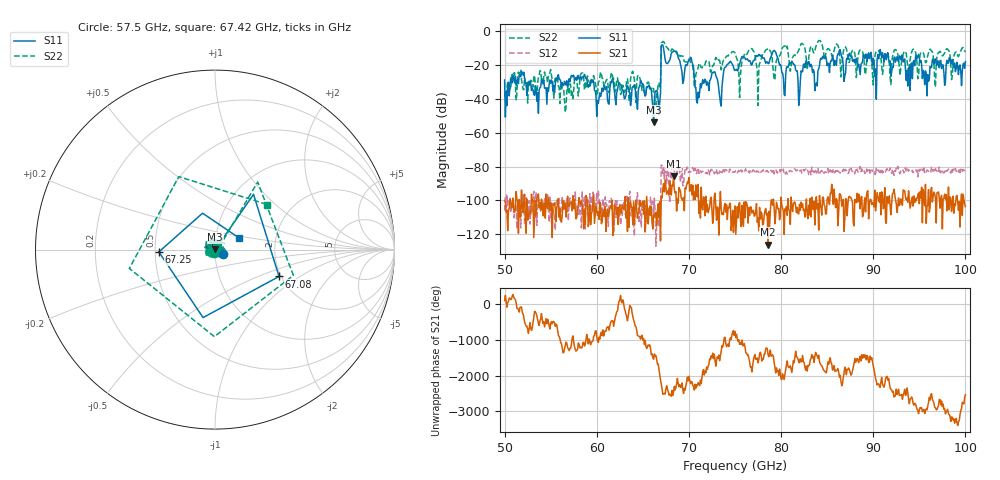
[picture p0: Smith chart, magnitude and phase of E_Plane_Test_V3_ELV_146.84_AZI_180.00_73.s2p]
! 11/26/2026 4:48:36 PM
! C:\ANRITSUVNA\TEMP\TEMP.S2P
! CHANNEL.1
! TR.MEASUREMENT
! RAW.DATA
# HZ S RI R 50.0
! FREQ.HZ  S11RE  S11IM  S21RE  S21IM  S12RE  S12IM  S22RE  S22IM
!; PortSelection: Port_12
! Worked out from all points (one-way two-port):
!   601 points, 50 GHz to 100 GHz, reference 50 ohm
!   highest |S21| = -85.69 dB at 68.33 GHz (marker M1); lowest = -126.0 dB at 78.58 GHz (marker M2)
!   lowest |S11| = -53.8 dB at 66.17 GHz (marker M3), VSWR 1.00, Z = 50.1 + j0.147 ohm
!   |S11| at or under -10 dB: start of sweep to 67 GHz; 67.25 GHz to end of sweep
!   |S22| runs from -48.1 to -5.6 dB; largest |S21 - S12| = 0.00012
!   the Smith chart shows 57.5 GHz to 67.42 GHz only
!   S11 on the Smith chart (normalised r, x): 57.5 GHz: 1.09, -0.05; 67.08 GHz: 1.95, -0.69; 67.25 GHz: 0.52, -0.01; 67.42 GHz: 1.29, +0.18
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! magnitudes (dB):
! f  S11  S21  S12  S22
! 50 GHz  -28.9  -100.3  -106.0  -35.8
! 57.5 GHz  -26.1  -104.9  -104.6  -34.6
! 58.42 GHz  -27.1  -102.8  -95.0  -24.7
! 60.17 GHz  -42.7  -106.8  -94.0  -30.4
! 66.17 GHz  -53.8  -108.5  -109.0  -34.0
! 66.67 GHz  -41.5  -102.0  -103.1  -31.6
! 67.08 GHz  -8.2  -98.5  -79.3  -6.8
! 67.25 GHz  -10.1  -90.1  -80.7  -6.2
! 67.42 GHz  -16.6  -87.7  -81.2  -8.3
! 68.33 GHz  -11.9  -85.7  -79.2  -11.4
! 70.25 GHz  -15.9  -90.7  -82.8  -18.8
! 70.92 GHz  -42.5  -97.8  -81.5  -23.1
! 75 GHz  -23.3  -103.3  -83.2  -13.0
! 77.58 GHz  -13.8  -118.0  -83.4  -22.0
! 78.58 GHz  -19.2  -126.0  -83.3  -10.1
! 79.33 GHz  -11.8  -113.7  -82.1  -28.7
! 80.25 GHz  -27.8  -106.5  -81.6  -9.3
! 83.42 GHz  -24.5  -103.5  -82.7  -10.8
! 91.67 GHz  -16.6  -100.1  -83.0  -15.2
! 94.83 GHz  -15.1  -97.2  -86.1  -28.2
! 95.83 GHz  -38.3  -103.3  -81.9  -16.6
! 100 GHz  -18.0  -103.6  -82.1  -12.6
